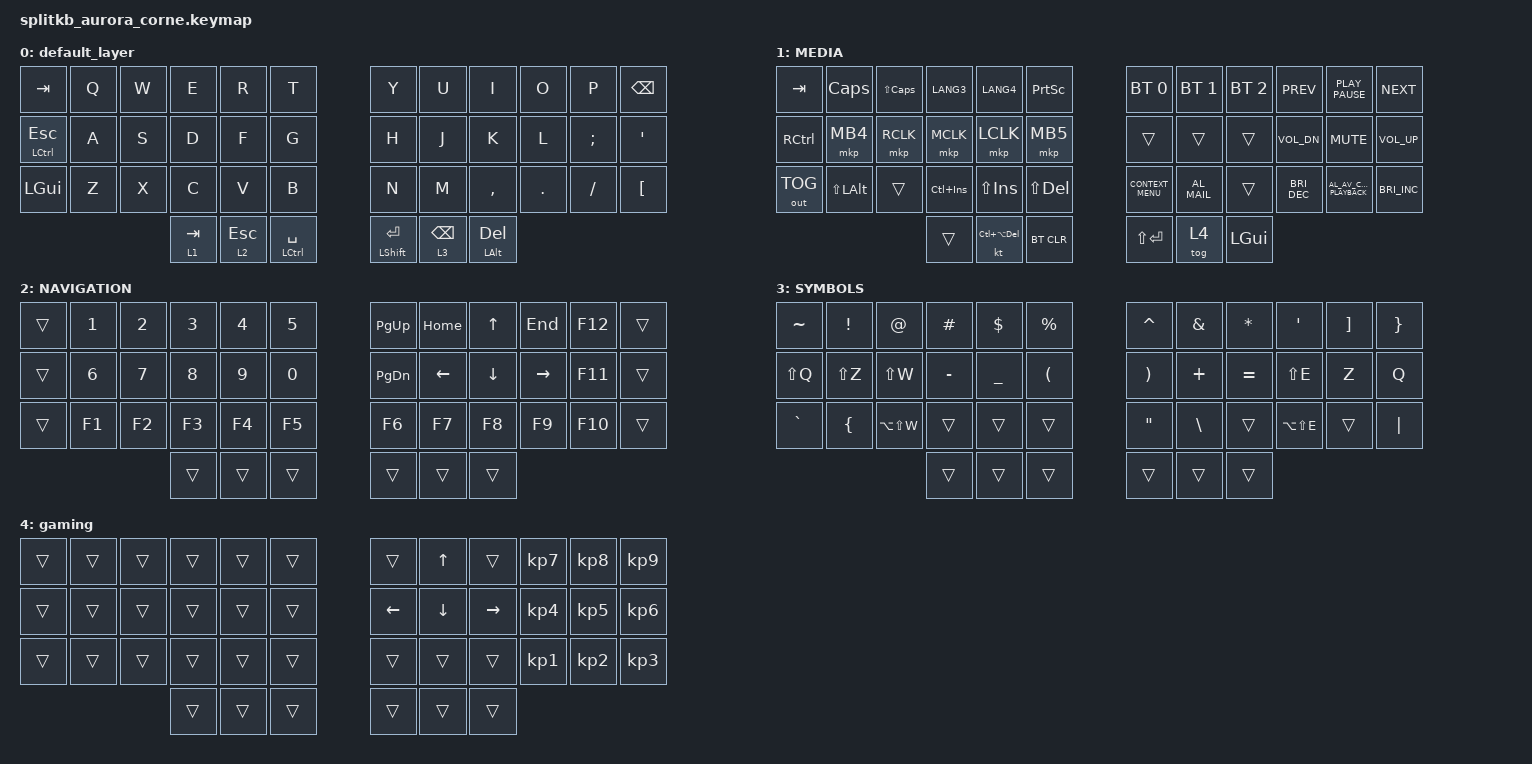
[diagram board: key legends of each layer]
/*
 * Copyright (c) 2020 The ZMK Contributors
 *
 * SPDX-License-Identifier: MIT
 */

#include <behaviors.dtsi>
#include <dt-bindings/zmk/bt.h>
#include <dt-bindings/zmk/keys.h>
#include <dt-bindings/zmk/outputs.h>
#include <dt-bindings/zmk/pointing.h>

/ {
    behaviors {
        left_hand_positional_hold_tap: left_hand_positional_hold_tap {
            compatible = "zmk,behavior-hold-tap";
            label = "LEFT_HAND_POSITIONAL_HOLD_TAP";
            bindings = <&kp>, <&kp>;

            #binding-cells = <2>;
            tapping-term-ms = <100>;
            quick-tap-ms = <200>;
            flavor = "tap-unless-interrupted";
            hold-trigger-key-positions = <5 17 29 30 18 6 7 8 9 10 11 19 20 21 22 23 31 32 33 34 35>;
        };
    };

    keymap {
        compatible = "zmk,keymap";

        default_layer {
            // -----------------------------------------------------------------------------------------
            // |  TAB |  Q  |  W  |  E  |  R  |  T  |   |  Y  |  U   |  I  |  O  |  P  | BKSP |
            // | CTRL |  A  |  S  |  D  |  F  |  G  |   |  H  |  J   |  K  |  L  |  ;  |  '   |
            // | SHFT |  Z  |  X  |  C  |  V  |  B  |   |  N  |  M   |  ,  |  .  |  /  | ESC  |
            //                    | GUI | LWR | SPC |   | ENT | RSE  | ALT |

            bindings = <
&kp TAB        &kp Q  &kp W  &kp E      &kp R         &kp T                     &kp Y             &kp U            &kp I                &kp O    &kp P     &kp BACKSPACE
&mt LCTRL ESC  &kp A  &kp S  &kp D      &kp F         &kp G                     &kp H             &kp J            &kp K                &kp L    &kp SEMI  &kp SQT
&kp LEFT_GUI   &kp Z  &kp X  &kp C      &kp V         &kp B                     &kp N             &kp M            &kp COMMA            &kp DOT  &kp FSLH  &kp LEFT_BRACKET
                             &lt 1 TAB  &lt 2 ESCAPE  &mt LEFT_CONTROL SPACE    &mt LSHIFT ENTER  &lt 3 BACKSPACE  &mt LEFT_ALT DELETE
            >;
        };

        MEDIA {
            // -----------------------------------------------------------------------------------------
            // |  TAB |  1  |  2  |  3  |  4  |  5  |   |  6  |  7  |  8  |  9  |  0  | BKSP |
            // | BTCLR| BT1 | BT2 | BT3 | BT4 | BT5 |   | LFT | DWN |  UP | RGT |     |      |
            // | SHFT |     |     |     |     |     |   |     |     |     |     |     |      |
            //                    | GUI |     | SPC |   | ENT |     | ALT |

            bindings = <
&kp TAB       &kp CAPS          &kp LS(CAPS)  &kp LANG3       &kp LANG4           &kp PRINTSCREEN    &bt BT_SEL 0        &bt BT_SEL 1   &bt BT_SEL 2  &kp K_PREV            &kp K_PLAY_PAUSE              &kp K_NEXT
&kp RCTRL     &mkp MB4          &mkp RCLK     &mkp MCLK       &mkp LCLK           &mkp MB5           &trans              &trans         &trans        &kp K_VOL_DN          &kp K_MUTE                    &kp K_VOL_UP
&out OUT_TOG  &kp LS(LEFT_ALT)  &trans        &kp LC(INSERT)  &kp LS(INSERT)      &kp LS(DELETE)     &kp K_CONTEXT_MENU  &kp C_AL_MAIL  &trans        &kp C_BRIGHTNESS_DEC  &kp C_AL_AV_CAPTURE_PLAYBACK  &kp C_BRIGHTNESS_INC
                                              &trans          &kt LC(LA(DELETE))  &bt BT_CLR         &kp LS(ENTER)       &tog 4         &kp LEFT_GUI
            >;
        };

        NAVIGATION {
            bindings = <
&trans  &kp NUMBER_1  &kp NUMBER_2  &kp NUMBER_3  &kp NUMBER_4  &kp NUMBER_5    &kp PG_UP      &kp HOME        &kp UP_ARROW    &kp END    &kp F12  &trans
&trans  &kp NUMBER_6  &kp NUMBER_7  &kp NUMBER_8  &kp NUMBER_9  &kp NUMBER_0    &kp PAGE_DOWN  &kp LEFT_ARROW  &kp DOWN_ARROW  &kp RIGHT  &kp F11  &trans
&trans  &kp F1        &kp F2        &kp F3        &kp F4        &kp F5          &kp F6         &kp F7          &kp F8          &kp F9     &kp F10  &trans
                                    &trans        &trans        &trans          &trans         &trans          &trans
            >;
        };

        SYMBOLS {
            bindings = <
&kp TILDE  &kp EXCLAMATION  &kp AT         &kp HASH   &kp DOLLAR      &kp PERCENT             &kp CARET              &kp AMPERSAND  &kp ASTERISK  &kp SQT        &kp RIGHT_BRACKET  &kp RIGHT_BRACE
&kp LS(Q)  &kp LS(Z)        &kp LS(W)      &kp MINUS  &kp UNDERSCORE  &kp LEFT_PARENTHESIS    &kp RIGHT_PARENTHESIS  &kp PLUS       &kp EQUAL     &kp LS(E)      &kp Z              &kp Q
&kp GRAVE  &kp LEFT_BRACE   &kp LA(LS(W))  &trans     &trans          &trans                  &kp DOUBLE_QUOTES      &kp BACKSLASH  &trans        &kp LA(LS(E))  &trans             &kp PIPE
                                           &trans     &trans          &trans                  &trans                 &trans         &trans
            >;
        };

        gaming {
            bindings = <
&trans  &trans  &trans  &trans  &trans  &trans    &trans    &kp UP    &trans     &kp KP_N7  &kp KP_N8  &kp KP_N9
&trans  &trans  &trans  &trans  &trans  &trans    &kp LEFT  &kp DOWN  &kp RIGHT  &kp KP_N4  &kp KP_N5  &kp KP_N6
&trans  &trans  &trans  &trans  &trans  &trans    &trans    &trans    &trans     &kp KP_N1  &kp KP_N2  &kp KP_N3
                        &trans  &trans  &trans    &trans    &trans    &trans
            >;
        };
    };
};
